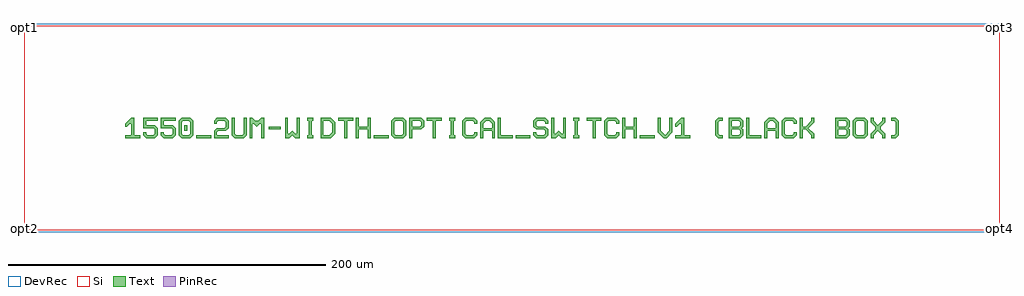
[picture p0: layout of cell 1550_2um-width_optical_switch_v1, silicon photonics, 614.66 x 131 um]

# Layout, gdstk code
import gdstk
lib = gdstk.Library(unit=1e-6, precision=1e-09)
def R(c, l, rs):  # rectangles x0, y0, x1, y1
    for r in rs: c.add(gdstk.rectangle(r[:2], r[2:], *l))
def P(c, l, *ps):  # polygons
    for p in ps: c.add(gdstk.Polygon(p, *l))
Si = (1, 0)
PinRec = (1, 10)
Text = (10, 0)
DevRec = (68, 0)

text = lib.new_cell('TEXT')
R(text, Text, [(44.7,0,54.013,1.863), (156.45,0,165.763,1.863), (245.85,0,255.163,1.863), (324.075,0,333.388,1.863), (37.25,4.656,39.113,8.381), (90.331,5.588,97.781,7.45)])
P(text, Text, [(0,0),(0,1.863),(3.725,1.863),(3.725,9.313),(2.794,9.313),(0.931,7.45),(0,7.45),(0,9.313),(3.725,13.038),(5.588,13.038),(5.588,1.863),(9.313,1.863),(9.313,0)],
  [(13.038,0),(11.175,1.863),(11.175,3.725),(13.038,3.725),(13.038,2.794),(13.969,1.863),(17.694,1.863),(18.625,2.794),(18.625,5.588),(17.694,6.519),(11.175,6.519),(11.175,13.038),(20.488,13.038),(20.488,11.175),(13.038,11.175),(13.038,8.381),(18.625,8.381),(20.488,6.519),(20.488,1.863),(18.625,0)],
  [(24.213,0),(22.35,1.863),(22.35,3.725),(24.213,3.725),(24.213,2.794),(25.144,1.863),(28.869,1.863),(29.8,2.794),(29.8,5.588),(28.869,6.519),(22.35,6.519),(22.35,13.038),(31.663,13.038),(31.663,11.175),(24.213,11.175),(24.213,8.381),(29.8,8.381),(31.663,6.519),(31.663,1.863),(29.8,0)],
  [(35.388,0),(33.525,1.863),(33.525,11.175),(35.388,13.038),(40.975,13.038),(42.838,11.175),(36.319,11.175),(35.388,10.244),(35.388,2.794),(36.319,1.863),(40.044,1.863),(40.975,2.794),(40.975,10.244),(40.044,11.175),(42.838,11.175),(42.838,1.863),(40.975,0)],
  [(55.875,0),(55.875,4.656),(57.738,6.519),(62.394,6.519),(63.325,7.45),(63.325,10.244),(62.394,11.175),(58.669,11.175),(57.738,10.244),(57.738,9.313),(55.875,9.313),(55.875,11.175),(57.738,13.038),(63.325,13.038),(65.188,11.175),(65.188,6.519),(63.325,4.656),(58.669,4.656),(57.738,3.725),(57.738,1.863),(65.188,1.863),(65.188,0)],
  [(68.913,0),(67.05,1.863),(67.05,13.038),(68.913,13.038),(68.913,2.794),(69.844,1.863),(73.569,1.863),(74.5,2.794),(74.5,13.038),(76.363,13.038),(76.363,1.863),(74.5,0)],
  [(78.225,0),(78.225,13.038),(80.088,13.038),(81.95,11.175),(83.813,11.175),(85.675,13.038),(87.538,13.038),(87.538,0),(85.675,0),(85.675,9.313),(84.744,9.313),(82.881,7.45),(81.019,9.313),(80.088,9.313),(80.088,0)],
  [(100.575,0),(100.575,13.038),(102.438,13.038),(102.438,2.794),(103.369,2.794),(105.231,4.656),(107.094,2.794),(108.025,2.794),(108.025,13.038),(109.888,13.038),(109.888,0),(107.094,0),(105.231,1.863),(103.369,0)],
  [(114.544,0),(114.544,1.863),(115.475,1.863),(115.475,11.175),(114.544,11.175),(114.544,13.038),(118.269,13.038),(118.269,11.175),(117.338,11.175),(117.338,1.863),(118.269,1.863),(118.269,0)],
  [(122.925,0),(122.925,13.038),(129.444,13.038),(131.306,11.175),(124.788,11.175),(124.788,1.863),(128.513,1.863),(130.375,3.725),(130.375,9.313),(128.513,11.175),(131.306,11.175),(132.238,10.244),(132.238,2.794),(129.444,0)],
  [(137.825,0),(137.825,11.175),(134.1,11.175),(134.1,13.038),(143.413,13.038),(143.413,11.175),(139.688,11.175),(139.688,0)],
  [(145.275,0),(145.275,13.038),(147.138,13.038),(147.138,7.45),(152.725,7.45),(152.725,13.038),(154.588,13.038),(154.588,0),(152.725,0),(152.725,5.588),(147.138,5.588),(147.138,0)],
  [(169.488,0),(167.625,1.863),(167.625,11.175),(169.488,13.038),(175.075,13.038),(176.938,11.175),(176.938,6.519),(175.075,6.519),(175.075,10.244),(174.144,11.175),(170.419,11.175),(169.488,10.244),(169.488,2.794),(170.419,1.863),(174.144,1.863),(175.075,2.794),(175.075,6.519),(176.938,6.519),(176.938,1.863),(175.075,0)],
  [(178.8,0),(178.8,13.038),(186.25,13.038),(188.113,11.175),(188.113,7.45),(186.25,5.588),(180.663,5.588),(180.663,7.45),(185.319,7.45),(186.25,8.381),(186.25,10.244),(185.319,11.175),(180.663,11.175),(180.663,0)],
  [(193.7,0),(193.7,11.175),(189.975,11.175),(189.975,13.038),(199.288,13.038),(199.288,11.175),(195.563,11.175),(195.563,0)],
  [(203.944,0),(203.944,1.863),(204.875,1.863),(204.875,11.175),(203.944,11.175),(203.944,13.038),(207.669,13.038),(207.669,11.175),(206.738,11.175),(206.738,1.863),(207.669,1.863),(207.669,0)],
  [(214.188,0),(212.325,1.863),(212.325,11.175),(214.188,13.038),(219.775,13.038),(221.638,11.175),(221.638,9.313),(219.775,9.313),(219.775,10.244),(218.844,11.175),(215.119,11.175),(214.188,10.244),(214.188,2.794),(215.119,1.863),(218.844,1.863),(219.775,2.794),(219.775,3.725),(221.638,3.725),(221.638,1.863),(219.775,0)],
  [(223.5,0),(223.5,10.244),(226.294,13.038),(230.019,13.038),(231.881,11.175),(227.225,11.175),(225.363,9.313),(225.363,6.519),(230.95,6.519),(230.95,9.313),(229.088,11.175),(231.881,11.175),(232.813,10.244),(232.813,0),(230.95,0),(230.95,4.656),(225.363,4.656),(225.363,0)],
  [(234.675,0),(234.675,13.038),(236.538,13.038),(236.538,1.863),(243.988,1.863),(243.988,0)],
  [(258.888,0),(257.025,1.863),(257.025,3.725),(258.888,3.725),(258.888,2.794),(259.819,1.863),(263.544,1.863),(264.475,2.794),(264.475,4.656),(263.544,5.588),(258.888,5.588),(257.025,7.45),(257.025,11.175),(258.888,13.038),(264.475,13.038),(266.338,11.175),(266.338,9.313),(264.475,9.313),(264.475,10.244),(263.544,11.175),(259.819,11.175),(258.888,10.244),(258.888,8.381),(259.819,7.45),(264.475,7.45),(266.338,5.588),(266.338,1.863),(264.475,0)],
  [(268.2,0),(268.2,13.038),(270.063,13.038),(270.063,2.794),(270.994,2.794),(272.856,4.656),(274.719,2.794),(275.65,2.794),(275.65,13.038),(277.513,13.038),(277.513,0),(274.719,0),(272.856,1.863),(270.994,0)],
  [(282.169,0),(282.169,1.863),(283.1,1.863),(283.1,11.175),(282.169,11.175),(282.169,13.038),(285.894,13.038),(285.894,11.175),(284.963,11.175),(284.963,1.863),(285.894,1.863),(285.894,0)],
  [(294.275,0),(294.275,11.175),(290.55,11.175),(290.55,13.038),(299.863,13.038),(299.863,11.175),(296.138,11.175),(296.138,0)],
  [(303.588,0),(301.725,1.863),(301.725,11.175),(303.588,13.038),(309.175,13.038),(311.038,11.175),(311.038,9.313),(309.175,9.313),(309.175,10.244),(308.244,11.175),(304.519,11.175),(303.588,10.244),(303.588,2.794),(304.519,1.863),(308.244,1.863),(309.175,2.794),(309.175,3.725),(311.038,3.725),(311.038,1.863),(309.175,0)],
  [(312.9,0),(312.9,13.038),(314.763,13.038),(314.763,7.45),(320.35,7.45),(320.35,13.038),(322.213,13.038),(322.213,0),(320.35,0),(320.35,5.588),(314.763,5.588),(314.763,0)],
  [(338.975,0),(335.25,3.725),(335.25,13.038),(337.113,13.038),(337.113,4.656),(339.906,1.863),(342.7,4.656),(342.7,13.038),(344.563,13.038),(344.563,3.725),(340.838,0)],
  [(346.425,0),(346.425,1.863),(350.15,1.863),(350.15,9.313),(349.219,9.313),(347.356,7.45),(346.425,7.45),(346.425,9.313),(350.15,13.038),(352.013,13.038),(352.013,1.863),(355.738,1.863),(355.738,0)],
  [(373.431,0),(371.569,1.863),(371.569,11.175),(373.431,13.038),(376.225,13.038),(376.225,11.175),(374.363,11.175),(373.431,10.244),(373.431,2.794),(374.363,1.863),(376.225,1.863),(376.225,0)],
  [(379.95,0),(379.95,13.038),(387.4,13.038),(389.263,11.175),(381.813,11.175),(381.813,7.45),(386.469,7.45),(387.4,8.381),(387.4,10.244),(386.469,11.175),(389.263,11.175),(389.263,7.45),(388.331,6.519),(389.263,5.588),(381.813,5.588),(381.813,1.863),(386.469,1.863),(387.4,2.794),(387.4,4.656),(386.469,5.588),(389.263,5.588),(389.263,1.863),(387.4,0)],
  [(391.125,0),(391.125,13.038),(392.988,13.038),(392.988,1.863),(400.438,1.863),(400.438,0)],
  [(402.3,0),(402.3,10.244),(405.094,13.038),(408.819,13.038),(410.681,11.175),(406.025,11.175),(404.163,9.313),(404.163,6.519),(409.75,6.519),(409.75,9.313),(407.888,11.175),(410.681,11.175),(411.613,10.244),(411.613,0),(409.75,0),(409.75,4.656),(404.163,4.656),(404.163,0)],
  [(415.338,0),(413.475,1.863),(413.475,11.175),(415.338,13.038),(420.925,13.038),(422.788,11.175),(422.788,9.313),(420.925,9.313),(420.925,10.244),(419.994,11.175),(416.269,11.175),(415.338,10.244),(415.338,2.794),(416.269,1.863),(419.994,1.863),(420.925,2.794),(420.925,3.725),(422.788,3.725),(422.788,1.863),(420.925,0)],
  [(424.65,0),(424.65,13.038),(426.513,13.038),(426.513,7.45),(428.375,7.45),(432.1,11.175),(432.1,13.038),(433.963,13.038),(433.963,10.244),(430.238,6.519),(433.963,2.794),(433.963,0),(432.1,0),(432.1,1.863),(428.375,5.588),(426.513,5.588),(426.513,0)],
  [(447,0),(447,13.038),(454.45,13.038),(456.313,11.175),(448.863,11.175),(448.863,7.45),(453.519,7.45),(454.45,8.381),(454.45,10.244),(453.519,11.175),(456.313,11.175),(456.313,7.45),(455.381,6.519),(456.313,5.588),(448.863,5.588),(448.863,1.863),(453.519,1.863),(454.45,2.794),(454.45,4.656),(453.519,5.588),(456.313,5.588),(456.313,1.863),(454.45,0)],
  [(460.038,0),(458.175,1.863),(458.175,11.175),(460.038,13.038),(465.625,13.038),(467.488,11.175),(467.488,6.519),(465.625,6.519),(465.625,10.244),(464.694,11.175),(460.969,11.175),(460.038,10.244),(460.038,2.794),(460.969,1.863),(464.694,1.863),(465.625,2.794),(465.625,6.519),(467.488,6.519),(467.488,1.863),(465.625,0)],
  [(469.35,0),(469.35,2.794),(472.144,5.588),(472.144,7.45),(469.35,10.244),(469.35,13.038),(471.213,13.038),(471.213,11.175),(474.006,8.381),(476.8,11.175),(476.8,13.038),(478.663,13.038),(478.663,10.244),(475.869,7.45),(475.869,5.588),(478.663,2.794),(478.663,0),(476.8,0),(476.8,1.863),(474.006,4.656),(471.213,1.863),(471.213,0)],
  [(482.388,0),(482.388,1.863),(484.25,1.863),(485.181,2.794),(485.181,10.244),(484.25,11.175),(482.388,11.175),(482.388,13.038),(485.181,13.038),(487.044,11.175),(487.044,1.863),(485.181,0)])

c_1550_2um_width_optical_s = lib.new_cell('1550_2um-width_optical_switch_v1')
R(c_1550_2um_width_optical_s, Si, [(-307.32,-64.5,307.321,64.5)])
R(c_1550_2um_width_optical_s, DevRec, [(-307.32,-65.5,307.321,65.5)])
c_1550_2um_width_optical_s.add(gdstk.FlexPath([(-307.31,63.5),(-307.33,63.5)], 2, ends="flush", simple_path=True, layer=1, datatype=10))  # PinRec
c_1550_2um_width_optical_s.add(gdstk.FlexPath([(-307.31,-63.5),(-307.33,-63.5)], 2, ends="flush", simple_path=True, layer=1, datatype=10))  # PinRec
c_1550_2um_width_optical_s.add(gdstk.FlexPath([(307.311,63.5),(307.331,63.5)], 2, ends="flush", simple_path=True, layer=1, datatype=10))  # PinRec
c_1550_2um_width_optical_s.add(gdstk.FlexPath([(307.311,-63.5),(307.331,-63.5)], 2, ends="flush", simple_path=True, layer=1, datatype=10))  # PinRec
c_1550_2um_width_optical_s.add(gdstk.Reference(text, (-243.522,-6.519)))
c_1550_2um_width_optical_s.add(gdstk.Label('opt1', (-307.32,63.5), layer=1, texttype=10))
c_1550_2um_width_optical_s.add(gdstk.Label('opt2', (-307.32,-63.5), layer=1, texttype=10))
c_1550_2um_width_optical_s.add(gdstk.Label('opt3', (307.321,63.5), layer=1, texttype=10))
c_1550_2um_width_optical_s.add(gdstk.Label('opt4', (307.321,-63.5), layer=1, texttype=10))

lib.write_gds('1550_2um-width_optical_switch_v1.gds')
